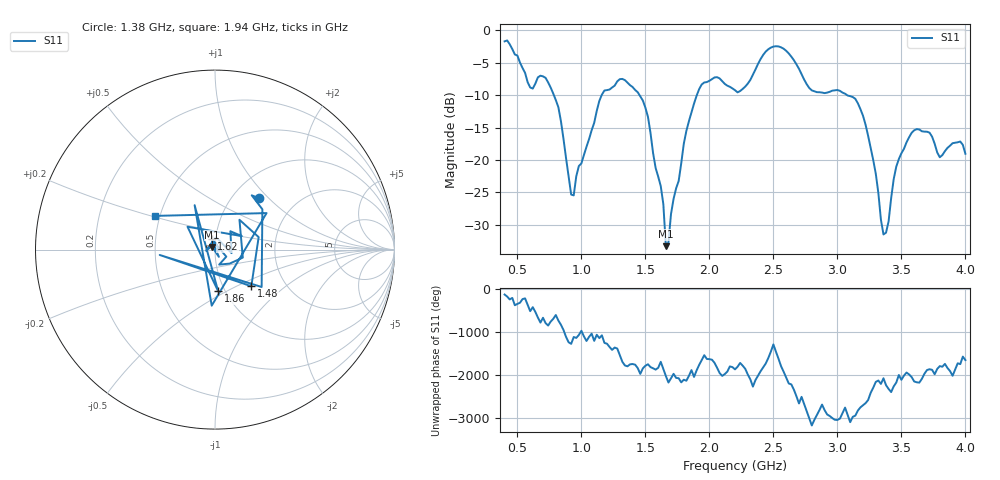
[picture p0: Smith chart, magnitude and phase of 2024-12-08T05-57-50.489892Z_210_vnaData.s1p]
!Created with skrf (http://scikit-rf.org).
# Hz S RI R 50.0
!freq ReS11 ImS11
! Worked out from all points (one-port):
!   181 points, 400 MHz to 4 GHz, reference 50 ohm
!   lowest |S11| = -33.3 dB at 1.66 GHz (marker M1), VSWR 1.04, Z = 48.5 + j1.49 ohm
!   |S11| at or under -10 dB: 784.8 MHz to 1.158 GHz (373.5 MHz wide, 38.4 % of centre); 1.454 GHz to 1.902 GHz (447.5 MHz wide, 26.7 % of centre); 3.076 GHz to end of sweep
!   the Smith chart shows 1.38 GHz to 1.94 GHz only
!   S11 on the Smith chart (normalised r, x): 1.38 GHz: 1.32, +0.88; 1.48 GHz: 1.35, -0.60; 1.62 GHz: 0.96, +0.11; 1.86 GHz: 0.93, -0.45; 1.94 GHz: 0.47, +0.21
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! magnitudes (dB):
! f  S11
! 400 MHz  -1.7
! 600 MHz  -8.8
! 720 MHz  -7.3
! 820 MHz  -11.9
! 860 MHz  -16.7
! 920 MHz  -25.3
! 940 MHz  -25.5
! 1.14 GHz  -10.9
! 1.3 GHz  -7.5
! 1.38 GHz  -8.5
! 1.48 GHz  -10.8
! 1.62 GHz  -24.0
! 1.66 GHz  -33.3
! 1.76 GHz  -23.2
! 1.86 GHz  -12.7
! 1.94 GHz  -8.4
! 2.2 GHz  -9.2
! 2.48 GHz  -2.7
! 2.66 GHz  -4.6
! 2.8 GHz  -9.3
! 3.1 GHz  -10.2
! 3.22 GHz  -14.6
! 3.3 GHz  -22.1
! 3.36 GHz  -31.5
! 3.4 GHz  -29.5
! 3.46 GHz  -21.0
! 3.56 GHz  -16.5
! 4 GHz  -19.0
